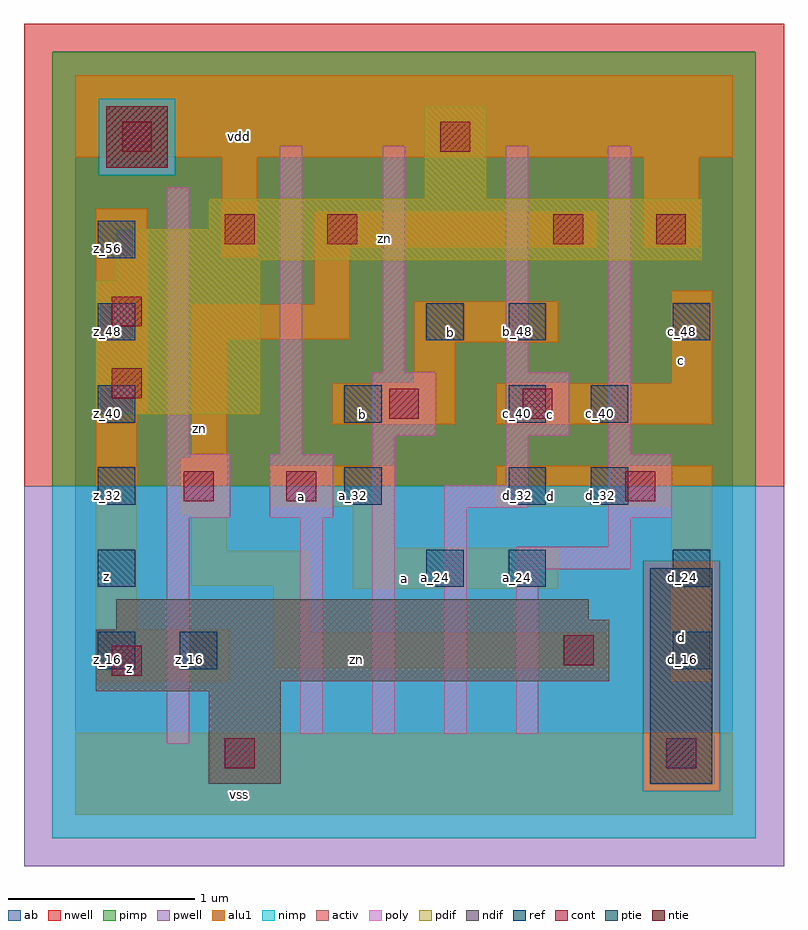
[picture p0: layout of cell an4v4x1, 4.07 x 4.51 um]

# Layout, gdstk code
import gdstk
lib = gdstk.Library(unit=1e-6, precision=2.5e-09)
def R(c, l, rs):  # rectangles x0, y0, x1, y1
    for r in rs: c.add(gdstk.rectangle(r[:2], r[2:], *l))
def A(c, l, x, y, w, h, nx, ny, dx, dy):  # array of equal rectangles
    R(c, l, [(x+i*dx, y+j*dy, x+i*dx+w, y+j*dy+h) for i in range(nx) for j in range(ny)])
ndif = (3, 0)
pdif = (4, 0)
ntie = (5, 0)
ptie = (6, 0)
ref = (24, 0)
cont = (25, 0)
pwell = (41, 0)
nwell = (42, 0)
activ = (43, 0)
pimp = (44, 0)
nimp = (45, 0)
poly = (46, 0)
alu1 = (49, 0)
ab = (63, 0)

an4v4x1 = lib.new_cell('an4v4x1')
R(an4v4x1, ndif, [(0.715,0.165,1.1,0.66), (0.11,0.66,1.1,0.715), (0.11,0.715,2.86,0.99), (0.22,0.99,2.86,1.045), (0.22,1.045,2.75,1.155)])
R(an4v4x1, pdif, [(0.11,2.145,0.99,2.86), (0.22,2.86,0.99,2.97), (0.22,2.97,3.355,3.135), (0.715,3.135,3.355,3.3), (1.87,3.3,2.2,3.795)])
R(an4v4x1, ntie, [(0.165,3.465,0.495,3.795)])
R(an4v4x1, ptie, [(3.08,0.165,3.41,1.32)])
A(an4v4x1, ref, 0.12, 0.78, 0.2, 0.2, 1, 6, 0, 0.44)
A(an4v4x1, ref, 2.32, 1.22, 0.2, 0.2, 1, 4, 0, 0.44)
R(an4v4x1, ref, [(0.56,0.78,0.76,0.98), (3.2,0.78,3.4,0.98), (1.88,1.22,2.08,1.42), (3.2,1.22,3.4,1.42), (1.44,1.66,1.64,1.86), (2.76,1.66,2.96,1.86), (1.44,2.1,1.64,2.3), (2.76,2.1,2.96,2.3), (1.88,2.54,2.08,2.74), (3.2,2.54,3.4,2.74)])
R(an4v4x1, cont, [(0.8,0.25,0.96,0.41), (3.165,0.25,3.325,0.41), (0.195,0.745,0.355,0.905), (2.615,0.8,2.775,0.96), (0.58,1.68,0.74,1.84), (1.13,1.68,1.29,1.84), (2.945,1.68,3.105,1.84), (1.68,2.12,1.84,2.28), (2.395,2.12,2.555,2.28), (0.195,2.23,0.355,2.39), (0.195,2.615,0.355,2.775), (0.8,3.055,0.96,3.215), (1.35,3.055,1.51,3.215), (2.56,3.055,2.72,3.215), (3.11,3.055,3.27,3.215), (0.25,3.55,0.41,3.71), (1.955,3.55,2.115,3.71)])
R(an4v4x1, pwell, [(-0.275,-0.275,3.795,1.76)])
R(an4v4x1, nwell, [(-0.275,1.76,3.795,4.235)])
R(an4v4x1, activ, [(0.715,0.165,1.1,0.66), (3.08,0.165,3.41,1.32), (0.11,0.66,1.1,0.715), (0.11,0.715,2.86,0.99), (0.22,0.99,2.86,1.045), (0.22,1.045,2.75,1.155), (0.11,2.145,0.99,2.86), (0.22,2.86,0.99,2.97), (0.22,2.97,3.355,3.135), (0.715,3.135,3.355,3.3), (1.87,3.3,2.2,3.795), (0.165,3.465,0.495,3.795)])
R(an4v4x1, pimp, [(3.04,0.125,3.45,1.36), (-0.125,1.76,3.645,3.425), (-0.125,3.425,0.125,3.835), (0.535,3.425,3.645,3.835), (-0.125,3.835,3.645,4.085)])
R(an4v4x1, nimp, [(-0.125,-0.125,3.645,0.125), (-0.125,0.125,3.04,1.36), (3.45,0.125,3.645,1.36), (-0.125,1.36,3.645,1.76), (0.125,3.425,0.535,3.835)])
R(an4v4x1, poly, [(0.49,0.38,0.61,1.59), (1.205,0.435,1.325,1.59), (1.59,0.435,1.71,2.03), (1.975,0.435,2.095,1.645), (2.36,0.435,2.48,1.315), (2.36,1.315,2.975,1.435), (2.855,1.435,2.975,1.59), (0.49,1.59,0.83,1.93), (1.04,1.59,1.38,1.93), (2.855,1.59,3.195,1.93), (1.975,1.645,2.425,1.765), (2.305,1.765,2.425,2.03), (0.49,1.93,0.61,3.36), (1.095,1.93,1.215,3.58), (2.855,1.93,2.975,3.58), (1.59,2.03,1.93,2.37), (2.305,2.03,2.645,2.37), (1.645,2.37,1.765,3.58), (2.305,2.37,2.425,3.58)])
R(an4v4x1, alu1, [(0,0,3.52,0.44), (0.11,0.715,0.825,0.99), (3.19,0.715,3.41,1.65), (1.06,0.785,2.845,0.975), (1.06,0.975,1.25,1.225), (0.11,0.99,0.33,2.145), (1.485,1.21,2.585,1.43), (0.62,1.225,1.25,1.415), (0.62,1.415,0.81,1.61), (1.485,1.43,1.705,1.65), (0.565,1.61,0.81,1.91), (1.045,1.65,1.705,1.87), (2.255,1.65,3.41,1.87), (0.62,1.91,0.81,2.545), (1.375,2.09,2.035,2.31), (2.255,2.09,3.41,2.31), (0.11,2.145,0.385,3.245), (1.815,2.31,2.035,2.53), (3.19,2.31,3.41,2.805), (1.815,2.53,2.585,2.75), (0.62,2.545,1.47,2.735), (1.28,2.735,1.47,3.04), (0.785,2.985,0.975,3.52), (1.28,3.04,2.79,3.23), (3.04,3.04,3.34,3.52), (0,3.52,3.52,3.96)])
R(an4v4x1, ab, [(0,0,3.52,3.96)])
an4v4x1.add(gdstk.Label('vss', (0.88,0.11), layer=49, texttype=0))
an4v4x1.add(gdstk.Label('d', (3.245,0.9475), layer=49, texttype=0))
an4v4x1.add(gdstk.Label('zn', (1.505,0.8325), layer=49, texttype=0))
an4v4x1.add(gdstk.Label('a', (1.76,1.265), layer=49, texttype=0))
an4v4x1.add(gdstk.Label('z', (0.2875,0.7825), layer=49, texttype=0))
an4v4x1.add(gdstk.Label('d', (2.5425,1.705), layer=49, texttype=0))
an4v4x1.add(gdstk.Label('a', (1.21,1.705), layer=49, texttype=0))
an4v4x1.add(gdstk.Label('c', (2.5425,2.145), layer=49, texttype=0))
an4v4x1.add(gdstk.Label('b', (1.54,2.145), layer=49, texttype=0))
an4v4x1.add(gdstk.Label('c', (3.245,2.4325), layer=49, texttype=0))
an4v4x1.add(gdstk.Label('b', (2.0075,2.585), layer=49, texttype=0))
an4v4x1.add(gdstk.Label('zn', (0.6675,2.0675), layer=49, texttype=0))
an4v4x1.add(gdstk.Label('z', (0.165,1.2775), layer=49, texttype=0))
an4v4x1.add(gdstk.Label('zn', (1.6575,3.0875), layer=49, texttype=0))
an4v4x1.add(gdstk.Label('vdd', (0.88,3.63), layer=49, texttype=0))
an4v4x1.add(gdstk.Label('z_16', (0.61,0.83), layer=24, texttype=0))
an4v4x1.add(gdstk.Label('a_32', (1.49,1.71), layer=24, texttype=0))
an4v4x1.add(gdstk.Label('b_40', (1.49,2.15), layer=24, texttype=0))
an4v4x1.add(gdstk.Label('a_24', (1.93,1.27), layer=24, texttype=0))
an4v4x1.add(gdstk.Label('b_48', (1.93,2.59), layer=24, texttype=0))
an4v4x1.add(gdstk.Label('z_16', (0.17,0.83), layer=24, texttype=0))
an4v4x1.add(gdstk.Label('z_24', (0.17,1.27), layer=24, texttype=0))
an4v4x1.add(gdstk.Label('z_32', (0.17,1.71), layer=24, texttype=0))
an4v4x1.add(gdstk.Label('z_40', (0.17,2.15), layer=24, texttype=0))
an4v4x1.add(gdstk.Label('z_48', (0.17,2.59), layer=24, texttype=0))
an4v4x1.add(gdstk.Label('z_56', (0.17,3.03), layer=24, texttype=0))
an4v4x1.add(gdstk.Label('a_24', (2.37,1.27), layer=24, texttype=0))
an4v4x1.add(gdstk.Label('d_32', (2.37,1.71), layer=24, texttype=0))
an4v4x1.add(gdstk.Label('c_40', (2.37,2.15), layer=24, texttype=0))
an4v4x1.add(gdstk.Label('b_48', (2.37,2.59), layer=24, texttype=0))
an4v4x1.add(gdstk.Label('d_32', (2.81,1.71), layer=24, texttype=0))
an4v4x1.add(gdstk.Label('c_40', (2.81,2.15), layer=24, texttype=0))
an4v4x1.add(gdstk.Label('d_16', (3.25,0.83), layer=24, texttype=0))
an4v4x1.add(gdstk.Label('d_24', (3.25,1.27), layer=24, texttype=0))
an4v4x1.add(gdstk.Label('c_48', (3.25,2.59), layer=24, texttype=0))

lib.write_gds('an4v4x1.gds')
